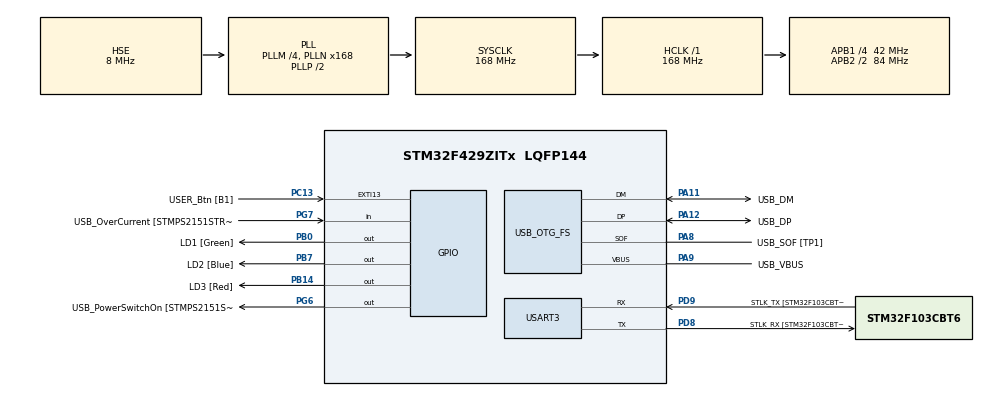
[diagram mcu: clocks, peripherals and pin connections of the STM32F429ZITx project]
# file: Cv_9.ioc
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Mcu.Family=STM32F4
Mcu.Name=STM32F429ZITx
Mcu.Package=LQFP144
NVIC.OTG_FS_IRQn=true\:0\:0\:false\:false\:true\:false\:true
NVIC.PriorityGroup=NVIC_PRIORITYGROUP_4
PA1.GPIO_Label=RMII_REF_CLK [LAN8742A-CZ-TR_REFCLK0]
PA1.Signal=ETH_REF_CLK
PA10.GPIO_Label=USB_ID
PA10.Signal=USB_OTG_FS_ID
PA11.GPIO_Label=USB_DM
PA11.Mode=Device_Only
PA11.Signal=USB_OTG_FS_DM
PA12.GPIO_Label=USB_DP
PA12.Mode=Device_Only
PA12.Signal=USB_OTG_FS_DP
PA13.GPIO_Label=TMS
PA13.Mode=Serial_Wire
PA13.Signal=SYS_JTMS-SWDIO
PA14.GPIO_Label=TCK
PA14.Mode=Serial_Wire
PA14.Signal=SYS_JTCK-SWCLK
PA2.GPIO_Label=RMII_MDIO [LAN8742A-CZ-TR_MDIO]
PA2.Signal=ETH_MDIO
PA7.GPIO_Label=RMII_CRS_DV [LAN8742A-CZ-TR_CRS_DV]
PA7.Signal=ETH_CRS_DV
PA8.GPIO_Label=USB_SOF [TP1]
PA8.Mode=Activate_SOF_FS
PA8.Signal=USB_OTG_FS_SOF
PA9.GPIO_Label=USB_VBUS
PA9.Mode=Activate_VBUS
PA9.Signal=USB_OTG_FS_VBUS
PB0.GPIO_Label=LD1 [Green]
PB0.Signal=GPIO_Output
PB13.GPIO_Label=RMII_TXD1 [LAN8742A-CZ-TR_TXD1]
PB13.Signal=ETH_TXD1
PB14.GPIO_Label=LD3 [Red]
PB14.Signal=GPIO_Output
PB7.GPIO_Label=LD2 [Blue]
PB7.Signal=GPIO_Output
PC1.GPIO_Label=RMII_MDC [LAN8742A-CZ-TR_MDC]
PC1.Signal=ETH_MDC
PC13.GPIO_Label=USER_Btn [B1]
PC13.Signal=GPXTI13
PC14/OSC32_IN.Mode=LSE-External-Oscillator
PC14/OSC32_IN.Signal=RCC_OSC32_IN
PC15/OSC32_OUT.Mode=LSE-External-Oscillator
PC15/OSC32_OUT.Signal=RCC_OSC32_OUT
PC4.GPIO_Label=RMII_RXD0 [LAN8742A-CZ-TR_RXD0]
PC4.Signal=ETH_RXD0
PC5.GPIO_Label=RMII_RXD1 [LAN8742A-CZ-TR_RXD1]
PC5.Signal=ETH_RXD1
PD8.GPIO_Label=STLK_RX [STM32F103CBT6_PA3]
PD8.Mode=Asynchronous
PD8.Signal=USART3_TX
PD9.GPIO_Label=STLK_TX [STM32F103CBT6_PA2]
PD9.Mode=Asynchronous
PD9.Signal=USART3_RX
PG11.GPIO_Label=RMII_TX_EN [LAN8742A-CZ-TR_TXEN]
PG11.Signal=ETH_TX_EN
PG13.GPIO_Label=RMII_TXD0 [LAN8742A-CZ-TR_TXD0]
PG13.Signal=ETH_TXD0
PG6.GPIO_Label=USB_PowerSwitchOn [STMPS2151STR_EN]
PG6.Signal=GPIO_Output
PG7.GPIO_Label=USB_OverCurrent [STMPS2151STR_FAULT]
PG7.Signal=GPIO_Input
PH0/OSC_IN.GPIO_Label=MCO [STM32F103CBT6_PA8]
PH0/OSC_IN.Mode=HSE-External-Clock-Source
PH0/OSC_IN.Signal=RCC_OSC_IN
PH1/OSC_OUT.Mode=HSE-External-Clock-Source
PH1/OSC_OUT.Signal=RCC_OSC_OUT
ProjectManager.HeapSize=0x200
ProjectManager.StackSize=0x400
ProjectManager.TargetToolchain=STM32CubeIDE
RCC.48MHZClocksFreq_Value=48000000
RCC.AHBFreq_Value=168000000
RCC.APB1CLKDivider=RCC_HCLK_DIV4
RCC.APB1Freq_Value=42000000
RCC.APB1TimFreq_Value=84000000
RCC.APB2CLKDivider=RCC_HCLK_DIV2
RCC.APB2Freq_Value=84000000
RCC.APB2TimCLKDivider=2
RCC.APB2TimFreq_Value=168000000
RCC.CortexFreq_Value=168000000
RCC.HCLKFreq_Value=168000000
RCC.HSE_VALUE=8000000
RCC.HSI_VALUE=16000000
RCC.PLLM=4
RCC.PLLMUL=RCC_PLL_MUL9
RCC.PLLN=168
RCC.PLLQ=7
RCC.PRESCALERUSB=RCC_USBCLKSOURCE_PLL_DIV1_5
RCC.SYSCLKFreq_VALUE=168000000
RCC.SYSCLKSource=RCC_SYSCLKSOURCE_PLLCLK
RCC.SYSCLKSourceVirtual=RCC_SYSCLKSOURCE_PLLCLK
RCC.USBFreq_Value=48000000
RCC.VCOOutputFreq_Value=336000000
USART3.VirtualMode=VM_ASYNC
USB_DEVICE.CLASS_NAME_FS=HID
USB_DEVICE.VirtualMode-HID_FS=Hid
USB_DEVICE.VirtualModeFS=Hid_FS
USB_OTG_FS.VirtualMode=Device_Only
VP_USB_DEVICE_VS_USB_DEVICE_HID_FS.Mode=HID_FS
board=NUCLEO-F429ZI

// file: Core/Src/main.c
/* USER CODE BEGIN Header */
/**
 ******************************************************************************
 * @file           : main.c
 * @brief          : Main program body
 ******************************************************************************
 * @attention
 *
 * <h2><center>&copy; Copyright (c) 2021 STMicroelectronics.
 * All rights reserved.</center></h2>
 *
 * This software component is licensed by ST under BSD 3-Clause license,
 * the "License"; You may not use this file except in compliance with the
 * License. You may obtain a copy of the License at:
 *                        opensource.org/licenses/BSD-3-Clause
 *
 ******************************************************************************
 */
/* USER CODE END Header */
#include "main.h"
#include "usb_device.h"

/* USER CODE BEGIN Includes */
#include "usbd_hid.h"
#include <math.h>
#include <stdbool.h>

/* USER CODE END Includes */

UART_HandleTypeDef huart3;

/* USER CODE BEGIN PV */
extern USBD_HandleTypeDef hUsbDeviceFS;

/* USER CODE END PV */

void SystemClock_Config(void);
static void MX_GPIO_Init(void);
static void MX_USART3_UART_Init(void);
/* USER CODE BEGIN PFP */
int32_t sx;
int32_t sy;
/* USER CODE END PFP */

/* USER CODE BEGIN 0 */
void step(int y, int x, bool btn){
	uint8_t buff[4]; /* posun a aktualizace tlacitka - pro kresleni */
	if (btn == 1){
		buff[0] = 0x01;
	}
	else{
		buff[0] = 0x00;
	}

	buff[1] = (int8_t)(x); // posun X +10
	buff[2] = (int8_t)(y); // posun Y -3
	buff[3] = 0; // bez scrollu
	USBD_HID_SendReport(&hUsbDeviceFS, buff, sizeof(buff));
	HAL_Delay(USBD_HID_GetPollingInterval(&hUsbDeviceFS));
}

void circle(int32_t radius, uint16_t W_angle, uint16_t B_angle ){
	float x=0;
	float y=0;

	int32_t dx=0;
	int32_t dy=0;
	int32_t sx=0;
	int32_t sy=0;
	uint32_t angle=0;

	for(angle = W_angle; angle < B_angle; angle= angle+10){
		sx=x;
		sy=y;

		x=radius*cos(M_PI*angle/180);
		y=radius*sin(M_PI*angle/180);

		dx = sx-x;
		dy = sy-y;

		step(dx,dy,1);

		sx = sx-dx;
		sy = sy-dy;

	}
}

/* USER CODE END 0 */

int main(void)
{

	/* MCU Configuration--------------------------------------------------------*/

	/* Reset of all peripherals, Initializes the Flash interface and the Systick. */
	HAL_Init();

	/* Configure the system clock */
	SystemClock_Config();

	/* Initialize all configured peripherals */
	MX_GPIO_Init();
	MX_USART3_UART_Init();
	MX_USB_DEVICE_Init();

	/* Infinite loop */
	/* USER CODE BEGIN WHILE */
	while (1)
	{
		if (HAL_GPIO_ReadPin(USER_Btn_GPIO_Port,USER_Btn_Pin)==1)
		{
			circle(100,0,370);  /* Head */

			step(0,0,0);		/* Right eye */
			step(40,-20,0);
			circle(20,0,360);

			step(0,0,0);		/* Left eye */
			step(100,0,0);
			circle(20,0,360);

			step(0,0,0);		/* Nose */
			step(-40,0,1);
			step(0,20,0);
			step(0,0,0);

			step(0,0,0);		/* Mouth */
			step(-30,10,0);
			circle(60,170,350);
			step(0,0,0);
		}
		/* USER CODE END WHILE */
		/* USER CODE BEGIN 3 */
	}
	/* USER CODE END WHILE */

	/* USER CODE BEGIN 3 */

	/* USER CODE END 3 */
}

void SystemClock_Config(void)
{
	RCC_OscInitTypeDef RCC_OscInitStruct = {0};
	RCC_ClkInitTypeDef RCC_ClkInitStruct = {0};

	/** Configure the main internal regulator output voltage
	 */
	__HAL_RCC_PWR_CLK_ENABLE();
	__HAL_PWR_VOLTAGESCALING_CONFIG(PWR_REGULATOR_VOLTAGE_SCALE1);
	/** Initializes the RCC Oscillators according to the specified parameters
	 * in the RCC_OscInitTypeDef structure.
	 */
	RCC_OscInitStruct.OscillatorType = RCC_OSCILLATORTYPE_HSE;
	RCC_OscInitStruct.HSEState = RCC_HSE_BYPASS;
	RCC_OscInitStruct.PLL.PLLState = RCC_PLL_ON;
	RCC_OscInitStruct.PLL.PLLSource = RCC_PLLSOURCE_HSE;
	RCC_OscInitStruct.PLL.PLLM = 4;
	RCC_OscInitStruct.PLL.PLLN = 168;
	RCC_OscInitStruct.PLL.PLLP = RCC_PLLP_DIV2;
	RCC_OscInitStruct.PLL.PLLQ = 7;
	if (HAL_RCC_OscConfig(&RCC_OscInitStruct) != HAL_OK)
	{
		Error_Handler();
	}
	/** Initializes the CPU, AHB and APB buses clocks
	 */
	RCC_ClkInitStruct.ClockType = RCC_CLOCKTYPE_HCLK|RCC_CLOCKTYPE_SYSCLK
			|RCC_CLOCKTYPE_PCLK1|RCC_CLOCKTYPE_PCLK2;
	RCC_ClkInitStruct.SYSCLKSource = RCC_SYSCLKSOURCE_PLLCLK;
	RCC_ClkInitStruct.AHBCLKDivider = RCC_SYSCLK_DIV1;
	RCC_ClkInitStruct.APB1CLKDivider = RCC_HCLK_DIV4;
	RCC_ClkInitStruct.APB2CLKDivider = RCC_HCLK_DIV2;

	if (HAL_RCC_ClockConfig(&RCC_ClkInitStruct, FLASH_LATENCY_5) != HAL_OK)
	{
		Error_Handler();
	}
}

static void MX_USART3_UART_Init(void)
{

	huart3.Instance = USART3;
	huart3.Init.BaudRate = 115200;
	huart3.Init.WordLength = UART_WORDLENGTH_8B;
	huart3.Init.StopBits = UART_STOPBITS_1;
	huart3.Init.Parity = UART_PARITY_NONE;
	huart3.Init.Mode = UART_MODE_TX_RX;
	huart3.Init.HwFlowCtl = UART_HWCONTROL_NONE;
	huart3.Init.OverSampling = UART_OVERSAMPLING_16;
	if (HAL_UART_Init(&huart3) != HAL_OK)
	{
		Error_Handler();
	}

}

static void MX_GPIO_Init(void)
{
	GPIO_InitTypeDef GPIO_InitStruct = {0};

	/* GPIO Ports Clock Enable */
	__HAL_RCC_GPIOC_CLK_ENABLE();
	__HAL_RCC_GPIOH_CLK_ENABLE();
	__HAL_RCC_GPIOA_CLK_ENABLE();
	__HAL_RCC_GPIOB_CLK_ENABLE();
	__HAL_RCC_GPIOD_CLK_ENABLE();
	__HAL_RCC_GPIOG_CLK_ENABLE();

	/*Configure GPIO pin Output Level */
	HAL_GPIO_WritePin(GPIOB, LD1_Pin|LD3_Pin|LD2_Pin, GPIO_PIN_RESET);

	/*Configure GPIO pin Output Level */
	HAL_GPIO_WritePin(USB_PowerSwitchOn_GPIO_Port, USB_PowerSwitchOn_Pin, GPIO_PIN_RESET);

	/*Configure GPIO pin : USER_Btn_Pin */
	GPIO_InitStruct.Pin = USER_Btn_Pin;
	GPIO_InitStruct.Mode = GPIO_MODE_IT_RISING;
	GPIO_InitStruct.Pull = GPIO_NOPULL;
	HAL_GPIO_Init(USER_Btn_GPIO_Port, &GPIO_InitStruct);

	/*Configure GPIO pins : RMII_MDC_Pin RMII_RXD0_Pin RMII_RXD1_Pin */
	GPIO_InitStruct.Pin = RMII_MDC_Pin|RMII_RXD0_Pin|RMII_RXD1_Pin;
	GPIO_InitStruct.Mode = GPIO_MODE_AF_PP;
	GPIO_InitStruct.Pull = GPIO_NOPULL;
	GPIO_InitStruct.Speed = GPIO_SPEED_FREQ_VERY_HIGH;
	GPIO_InitStruct.Alternate = GPIO_AF11_ETH;
	HAL_GPIO_Init(GPIOC, &GPIO_InitStruct);

	/*Configure GPIO pins : RMII_REF_CLK_Pin RMII_MDIO_Pin RMII_CRS_DV_Pin */
	GPIO_InitStruct.Pin = RMII_REF_CLK_Pin|RMII_MDIO_Pin|RMII_CRS_DV_Pin;
	GPIO_InitStruct.Mode = GPIO_MODE_AF_PP;
	GPIO_InitStruct.Pull = GPIO_NOPULL;
	GPIO_InitStruct.Speed = GPIO_SPEED_FREQ_VERY_HIGH;
	GPIO_InitStruct.Alternate = GPIO_AF11_ETH;
	HAL_GPIO_Init(GPIOA, &GPIO_InitStruct);

	/*Configure GPIO pins : LD1_Pin LD3_Pin LD2_Pin */
	GPIO_InitStruct.Pin = LD1_Pin|LD3_Pin|LD2_Pin;
	GPIO_InitStruct.Mode = GPIO_MODE_OUTPUT_PP;
	GPIO_InitStruct.Pull = GPIO_NOPULL;
	GPIO_InitStruct.Speed = GPIO_SPEED_FREQ_LOW;
	HAL_GPIO_Init(GPIOB, &GPIO_InitStruct);

	/*Configure GPIO pin : RMII_TXD1_Pin */
	GPIO_InitStruct.Pin = RMII_TXD1_Pin;
	GPIO_InitStruct.Mode = GPIO_MODE_AF_PP;
	GPIO_InitStruct.Pull = GPIO_NOPULL;
	GPIO_InitStruct.Speed = GPIO_SPEED_FREQ_VERY_HIGH;
	GPIO_InitStruct.Alternate = GPIO_AF11_ETH;
	HAL_GPIO_Init(RMII_TXD1_GPIO_Port, &GPIO_InitStruct);

	/*Configure GPIO pin : USB_PowerSwitchOn_Pin */
	GPIO_InitStruct.Pin = USB_PowerSwitchOn_Pin;
	GPIO_InitStruct.Mode = GPIO_MODE_OUTPUT_PP;
	GPIO_InitStruct.Pull = GPIO_NOPULL;
	GPIO_InitStruct.Speed = GPIO_SPEED_FREQ_LOW;
	HAL_GPIO_Init(USB_PowerSwitchOn_GPIO_Port, &GPIO_InitStruct);

	/*Configure GPIO pin : USB_OverCurrent_Pin */
	GPIO_InitStruct.Pin = USB_OverCurrent_Pin;
	GPIO_InitStruct.Mode = GPIO_MODE_INPUT;
	GPIO_InitStruct.Pull = GPIO_NOPULL;
	HAL_GPIO_Init(USB_OverCurrent_GPIO_Port, &GPIO_InitStruct);

	/*Configure GPIO pins : RMII_TX_EN_Pin RMII_TXD0_Pin */
	GPIO_InitStruct.Pin = RMII_TX_EN_Pin|RMII_TXD0_Pin;
	GPIO_InitStruct.Mode = GPIO_MODE_AF_PP;
	GPIO_InitStruct.Pull = GPIO_NOPULL;
	GPIO_InitStruct.Speed = GPIO_SPEED_FREQ_VERY_HIGH;
	GPIO_InitStruct.Alternate = GPIO_AF11_ETH;
	HAL_GPIO_Init(GPIOG, &GPIO_InitStruct);

}

void Error_Handler(void)
{
	__disable_irq();
	while (1)
	{
	}
}

/************************ (C) COPYRIGHT STMicroelectronics *****END OF FILE****/
